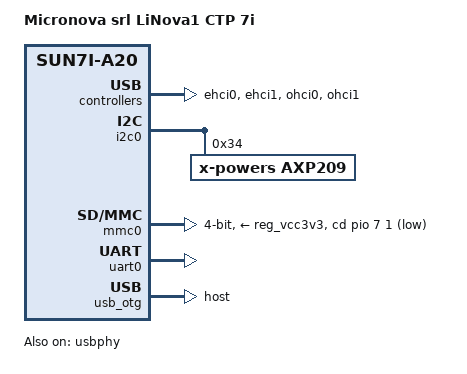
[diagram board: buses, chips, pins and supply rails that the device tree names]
/*
 * sun7i-a20-linova1-ctp-7i.dts Device Tree file for Micronova srl Linova1 CTP 7"
 * Copyright 2018 - Giulio Benetti <giulio.benetti@micronovasrl.com>
 *
 * SPDX-License-Identifier:     GPL-2.0+ or X11
 */

/dts-v1/;
#include "sun7i-a20.dtsi"
#include "sunxi-common-regulators.dtsi"

#include <dt-bindings/gpio/gpio.h>
#include <dt-bindings/interrupt-controller/irq.h>

/ {
	model = "Micronova srl LiNova1 CTP 7i";
	compatible = "micronova,a20-linova1-ctp-7i", "allwinner,sun7i-a20";

	aliases {
		serial0 = &uart0;
	};

	chosen {
		stdout-path = "serial0:115200n8";
	};
};

&ehci0 {
	status = "okay";
};

&ehci1 {
	status = "okay";
};

&i2c0 {
	pinctrl-names = "default";
	pinctrl-0 = <&i2c0_pins_a>;
	status = "okay";

	axp209: pmic@34 {
		compatible = "x-powers,axp209";
		reg = <0x34>;
		interrupt-parent = <&nmi_intc>;
		interrupts = <0 IRQ_TYPE_LEVEL_LOW>;

		interrupt-controller;
		#interrupt-cells = <1>;
	};
};

&mmc0 {
	pinctrl-names = "default";
	pinctrl-0 = <&mmc0_pins_a>;
	vmmc-supply = <&reg_vcc3v3>;
	bus-width = <4>;
	cd-gpios = <&pio 7 1 GPIO_ACTIVE_HIGH>; /* PH1 */
	cd-inverted;
	status = "okay";
};

&ohci0 {
	status = "okay";
};

&ohci1 {
	status = "okay";
};

&otg_sram {
	status = "okay";
};

&reg_usb0_vbus {
	status = "okay";
};

&reg_usb1_vbus {
	status = "okay";
};

&uart0 {
	pinctrl-names = "default";
	pinctrl-0 = <&uart0_pins_a>;
	status = "okay";
};

&usb_otg {
	dr_mode = "host";
	status = "okay";
};

&usbphy {
	pinctrl-names = "default";
	usb0_vbus-supply = <&reg_usb0_vbus>;
	usb1_vbus-supply = <&reg_usb1_vbus>;
	status = "okay";
};
